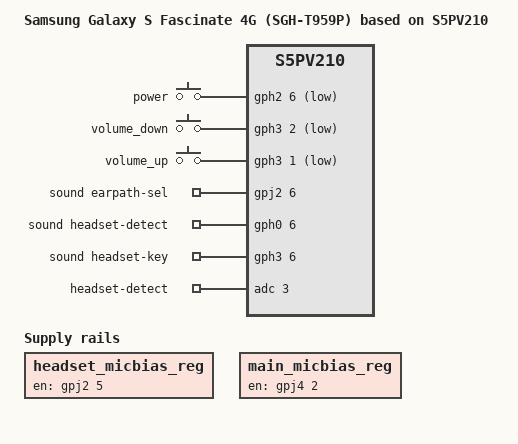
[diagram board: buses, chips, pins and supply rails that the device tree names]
// SPDX-License-Identifier: GPL-2.0

/dts-v1/;
#include <dt-bindings/gpio/gpio.h>
#include <dt-bindings/input/input.h>
#include "s5pv210-aries.dtsi"

/ {
	model = "Samsung Galaxy S Fascinate 4G (SGH-T959P) based on S5PV210";
	compatible = "samsung,fascinate4g", "samsung,aries", "samsung,s5pv210";
	chassis-type = "handset";

	chosen {
		stdout-path = &uart2;
	};

	gpio-keys {
		compatible = "gpio-keys";

		power {
			label = "power";
			gpios = <&gph2 6 GPIO_ACTIVE_LOW>;
			linux,code = <KEY_POWER>;
			wakeup-source;
		};

		vol-down {
			label = "volume_down";
			gpios = <&gph3 2 GPIO_ACTIVE_LOW>;
			linux,code = <KEY_VOLUMEDOWN>;
		};

		vol-up {
			label = "volume_up";
			gpios = <&gph3 1 GPIO_ACTIVE_LOW>;
			linux,code = <KEY_VOLUMEUP>;
		};
	};

	headset_micbias_reg: regulator-fixed-3 {
		compatible = "regulator-fixed";
		regulator-name = "Headset_Micbias";
		gpio = <&gpj2 5 GPIO_ACTIVE_HIGH>;
		enable-active-high;

		pinctrl-names = "default";
		pinctrl-0 = <&headset_micbias_ena>;
	};

	main_micbias_reg: regulator-fixed-4 {
		compatible = "regulator-fixed";
		regulator-name = "Main_Micbias";
		gpio = <&gpj4 2 GPIO_ACTIVE_HIGH>;
		enable-active-high;

		pinctrl-names = "default";
		pinctrl-0 = <&main_micbias_ena>;
	};

	sound {
		compatible = "samsung,fascinate4g-wm8994";

		model = "Fascinate4G";

		extcon = <&fsa9480>;

		main-micbias-supply = <&main_micbias_reg>;
		headset-micbias-supply = <&headset_micbias_reg>;

		earpath-sel-gpios = <&gpj2 6 GPIO_ACTIVE_HIGH>;

		io-channels = <&adc 3>;
		io-channel-names = "headset-detect";
		headset-detect-gpios = <&gph0 6 GPIO_ACTIVE_HIGH>;
		headset-key-gpios = <&gph3 6 GPIO_ACTIVE_HIGH>;

		samsung,audio-routing =
			"HP", "HPOUT1L",
			"HP", "HPOUT1R",

			"SPK", "SPKOUTLN",
			"SPK", "SPKOUTLP",

			"RCV", "HPOUT2N",
			"RCV", "HPOUT2P",

			"LINE", "LINEOUT2N",
			"LINE", "LINEOUT2P",

			"IN1LP", "Main Mic",
			"IN1LN", "Main Mic",

			"IN1RP", "Headset Mic",
			"IN1RN", "Headset Mic",

			"Modem Out", "Modem TX",
			"Modem RX", "Modem In",

			"Bluetooth SPK", "TX",
			"RX", "Bluetooth Mic";

		pinctrl-names = "default";
		pinctrl-0 = <&headset_det &earpath_sel>;

		cpu {
			sound-dai = <&i2s0>, <&bt_codec>;
		};

		codec {
			sound-dai = <&wm8994>;
		};
	};
};

&fg {
	compatible = "maxim,max77836-battery";

	interrupt-parent = <&gph3>;
	interrupts = <3 IRQ_TYPE_LEVEL_LOW>;

	pinctrl-names = "default";
	pinctrl-0 = <&fg_irq>;
};

&pinctrl0 {
	pinctrl-names = "default";
	pinctrl-0 = <&sleep_cfg>;

	headset_det: headset-det {
		samsung,pins = "gph0-6", "gph3-6";
		samsung,pin-function = <EXYNOS_PIN_FUNC_F>;
		samsung,pin-pud = <S3C64XX_PIN_PULL_NONE>;
	};

	fg_irq: fg-irq {
		samsung,pins = "gph3-3";
		samsung,pin-function = <EXYNOS_PIN_FUNC_F>;
		samsung,pin-pud = <S3C64XX_PIN_PULL_NONE>;
		samsung,pin-drv = <EXYNOS4_PIN_DRV_LV1>;
	};

	headset_micbias_ena: headset-micbias-ena {
		samsung,pins = "gpj2-5";
		samsung,pin-pud = <S3C64XX_PIN_PULL_NONE>;
		samsung,pin-drv = <EXYNOS4_PIN_DRV_LV1>;
	};

	earpath_sel: earpath-sel {
		samsung,pins = "gpj2-6";
		samsung,pin-pud = <S3C64XX_PIN_PULL_NONE>;
		samsung,pin-drv = <EXYNOS4_PIN_DRV_LV1>;
	};

	main_micbias_ena: main-micbias-ena {
		samsung,pins = "gpj4-2";
		samsung,pin-pud = <S3C64XX_PIN_PULL_NONE>;
		samsung,pin-drv = <EXYNOS4_PIN_DRV_LV1>;
	};

	/* Based on vendor kernel v2.6.35.7 */
	sleep_cfg: sleep-cfg {
		PIN_SLP(gpa0-0, PREV, NONE);
		PIN_SLP(gpa0-1, PREV, NONE);
		PIN_SLP(gpa0-2, PREV, NONE);
		PIN_SLP(gpa0-3, OUT1, NONE);
		PIN_SLP(gpa0-4, PREV, NONE);
		PIN_SLP(gpa0-5, PREV, NONE);
		PIN_SLP(gpa0-6, PREV, NONE);
		PIN_SLP(gpa0-7, PREV, NONE);

		PIN_SLP(gpa1-0, INPUT, DOWN);
		PIN_SLP(gpa1-1, OUT0, NONE);
		PIN_SLP(gpa1-2, INPUT, DOWN);
		PIN_SLP(gpa1-3, OUT0, NONE);

		PIN_SLP(gpb-0, OUT0, NONE);
		PIN_SLP(gpb-1, OUT1, NONE);
		PIN_SLP(gpb-2, OUT0, NONE);
		PIN_SLP(gpb-3, PREV, NONE);
		PIN_SLP(gpb-4, INPUT, NONE);
		PIN_SLP(gpb-5, PREV, NONE);
		PIN_SLP(gpb-6, INPUT, DOWN);
		PIN_SLP(gpb-7, OUT0, NONE);

		PIN_SLP(gpc0-0, OUT0, NONE);
		PIN_SLP(gpc0-1, INPUT, DOWN);
		PIN_SLP(gpc0-2, OUT0, NONE);
		PIN_SLP(gpc0-3, INPUT, DOWN);
		PIN_SLP(gpc0-4, OUT0, NONE);

		PIN_SLP(gpc1-0, INPUT, DOWN);
		PIN_SLP(gpc1-1, INPUT, DOWN);
		PIN_SLP(gpc1-2, INPUT, DOWN);
		PIN_SLP(gpc1-3, INPUT, DOWN);
		PIN_SLP(gpc1-4, INPUT, DOWN);

		PIN_SLP(gpd0-0, INPUT, DOWN);
		PIN_SLP(gpd0-1, OUT0, NONE);
		PIN_SLP(gpd0-2, INPUT, DOWN);
		PIN_SLP(gpd0-3, INPUT, DOWN);

		PIN_SLP(gpd1-0, INPUT, NONE);
		PIN_SLP(gpd1-1, INPUT, NONE);
		PIN_SLP(gpd1-2, INPUT, DOWN);
		PIN_SLP(gpd1-3, INPUT, DOWN);
		PIN_SLP(gpd1-4, INPUT, DOWN);
		PIN_SLP(gpd1-5, INPUT, DOWN);

		PIN_SLP(gpe0-0, INPUT, DOWN);
		PIN_SLP(gpe0-1, INPUT, DOWN);
		PIN_SLP(gpe0-2, INPUT, DOWN);
		PIN_SLP(gpe0-3, INPUT, DOWN);
		PIN_SLP(gpe0-4, INPUT, DOWN);
		PIN_SLP(gpe0-5, INPUT, DOWN);
		PIN_SLP(gpe0-6, INPUT, DOWN);
		PIN_SLP(gpe0-7, INPUT, DOWN);

		PIN_SLP(gpe1-0, INPUT, DOWN);
		PIN_SLP(gpe1-1, INPUT, DOWN);
		PIN_SLP(gpe1-2, INPUT, DOWN);
		PIN_SLP(gpe1-3, OUT0, NONE);
		PIN_SLP(gpe1-4, INPUT, DOWN);

		PIN_SLP(gpf0-0, OUT0, NONE);
		PIN_SLP(gpf0-1, OUT0, NONE);
		PIN_SLP(gpf0-2, OUT0, NONE);
		PIN_SLP(gpf0-3, OUT0, NONE);
		PIN_SLP(gpf0-4, OUT0, NONE);
		PIN_SLP(gpf0-5, OUT0, NONE);
		PIN_SLP(gpf0-6, OUT0, NONE);
		PIN_SLP(gpf0-7, OUT0, NONE);

		PIN_SLP(gpf1-0, OUT0, NONE);
		PIN_SLP(gpf1-1, OUT0, NONE);
		PIN_SLP(gpf1-2, OUT0, NONE);
		PIN_SLP(gpf1-3, OUT0, NONE);
		PIN_SLP(gpf1-4, OUT0, NONE);
		PIN_SLP(gpf1-5, OUT0, NONE);
		PIN_SLP(gpf1-6, OUT0, NONE);
		PIN_SLP(gpf1-7, OUT0, NONE);

		PIN_SLP(gpf2-0, OUT0, NONE);
		PIN_SLP(gpf2-1, OUT0, NONE);
		PIN_SLP(gpf2-2, OUT0, NONE);
		PIN_SLP(gpf2-3, OUT0, NONE);
		PIN_SLP(gpf2-4, OUT0, NONE);
		PIN_SLP(gpf2-5, OUT0, NONE);
		PIN_SLP(gpf2-6, OUT0, NONE);
		PIN_SLP(gpf2-7, OUT0, NONE);

		PIN_SLP(gpf3-0, OUT0, NONE);
		PIN_SLP(gpf3-1, OUT0, NONE);
		PIN_SLP(gpf3-2, OUT0, NONE);
		PIN_SLP(gpf3-3, OUT0, NONE);
		PIN_SLP(gpf3-4, PREV, NONE);
		PIN_SLP(gpf3-5, INPUT, DOWN);

		PIN_SLP(gpg0-0, INPUT, DOWN);
		PIN_SLP(gpg0-1, INPUT, DOWN);
		PIN_SLP(gpg0-2, INPUT, NONE);
		PIN_SLP(gpg0-3, INPUT, DOWN);
		PIN_SLP(gpg0-4, INPUT, DOWN);
		PIN_SLP(gpg0-5, INPUT, DOWN);
		PIN_SLP(gpg0-6, INPUT, DOWN);

		PIN_SLP(gpg1-0, OUT0, NONE);
		PIN_SLP(gpg1-1, OUT1, NONE);
		PIN_SLP(gpg1-2, PREV, NONE);
		PIN_SLP(gpg1-3, OUT1, NONE);
		PIN_SLP(gpg1-4, OUT1, NONE);
		PIN_SLP(gpg1-5, OUT1, NONE);
		PIN_SLP(gpg1-6, OUT1, NONE);

		PIN_SLP(gpg2-0, OUT0, NONE);
		PIN_SLP(gpg2-1, OUT0, NONE);
		PIN_SLP(gpg2-2, INPUT, NONE);
		PIN_SLP(gpg2-3, OUT0, NONE);
		PIN_SLP(gpg2-4, OUT0, NONE);
		PIN_SLP(gpg2-5, OUT0, NONE);
		PIN_SLP(gpg2-6, OUT0, NONE);

		PIN_SLP(gpg3-0, PREV, UP);
		PIN_SLP(gpg3-1, PREV, UP);
		PIN_SLP(gpg3-2, INPUT, NONE);
		PIN_SLP(gpg3-3, INPUT, DOWN);
		PIN_SLP(gpg3-4, OUT0, NONE);
		PIN_SLP(gpg3-5, OUT0, NONE);
		PIN_SLP(gpg3-6, INPUT, DOWN);

		PIN_SLP(gpi-0, PREV, NONE);
		PIN_SLP(gpi-1, INPUT, DOWN);
		PIN_SLP(gpi-2, PREV, NONE);
		PIN_SLP(gpi-3, PREV, NONE);
		PIN_SLP(gpi-4, PREV, NONE);
		PIN_SLP(gpi-5, INPUT, DOWN);
		PIN_SLP(gpi-6, INPUT, DOWN);

		PIN_SLP(gpj0-0, INPUT, NONE);
		PIN_SLP(gpj0-1, INPUT, NONE);
		PIN_SLP(gpj0-2, INPUT, NONE);
		PIN_SLP(gpj0-3, INPUT, NONE);
		PIN_SLP(gpj0-4, INPUT, NONE);
		PIN_SLP(gpj0-5, INPUT, DOWN);
		PIN_SLP(gpj0-6, OUT0, NONE);
		PIN_SLP(gpj0-7, INPUT, NONE);

		PIN_SLP(gpj1-0, OUT1, NONE);
		PIN_SLP(gpj1-1, OUT0, NONE);
		PIN_SLP(gpj1-2, INPUT, DOWN);
		PIN_SLP(gpj1-3, PREV, NONE);
		PIN_SLP(gpj1-4, PREV, NONE);
		PIN_SLP(gpj1-5, OUT0, NONE);

		PIN_SLP(gpj2-0, INPUT, DOWN);
		PIN_SLP(gpj2-1, INPUT, DOWN);
		PIN_SLP(gpj2-2, OUT0, NONE);
		PIN_SLP(gpj2-3, INPUT, DOWN);
		PIN_SLP(gpj2-4, INPUT, DOWN);
		PIN_SLP(gpj2-5, PREV, NONE);
		PIN_SLP(gpj2-6, PREV, NONE);
		PIN_SLP(gpj2-7, INPUT, DOWN);

		PIN_SLP(gpj3-0, INPUT, NONE);
		PIN_SLP(gpj3-1, INPUT, NONE);
		PIN_SLP(gpj3-2, OUT0, NONE);
		PIN_SLP(gpj3-3, INPUT, DOWN);
		PIN_SLP(gpj3-4, INPUT, NONE);
		PIN_SLP(gpj3-5, INPUT, NONE);
		PIN_SLP(gpj3-6, INPUT, NONE);
		PIN_SLP(gpj3-7, INPUT, NONE);

		PIN_SLP(gpj4-0, INPUT, NONE);
		PIN_SLP(gpj4-1, INPUT, DOWN);
		PIN_SLP(gpj4-2, PREV, NONE);
		PIN_SLP(gpj4-3, INPUT, NONE);
		PIN_SLP(gpj4-4, INPUT, DOWN);

		PIN_SLP(mp01-0, OUT1, NONE);
		PIN_SLP(mp01-1, OUT0, NONE);
		PIN_SLP(mp01-2, INPUT, DOWN);
		PIN_SLP(mp01-3, INPUT, DOWN);
		PIN_SLP(mp01-4, OUT1, NONE);
		PIN_SLP(mp01-5, INPUT, DOWN);
		PIN_SLP(mp01-6, INPUT, DOWN);
		PIN_SLP(mp01-7, INPUT, DOWN);

		PIN_SLP(mp02-0, INPUT, DOWN);
		PIN_SLP(mp02-1, INPUT, DOWN);
		PIN_SLP(mp02-2, INPUT, NONE);
		PIN_SLP(mp02-3, INPUT, DOWN);

		PIN_SLP(mp03-0, INPUT, DOWN);
		PIN_SLP(mp03-1, INPUT, DOWN);
		PIN_SLP(mp03-2, OUT1, NONE);
		PIN_SLP(mp03-3, OUT0, NONE);
		PIN_SLP(mp03-4, INPUT, NONE);
		PIN_SLP(mp03-5, OUT0, NONE);
		PIN_SLP(mp03-6, INPUT, DOWN);
		PIN_SLP(mp03-7, INPUT, DOWN);

		PIN_SLP(mp04-0, INPUT, DOWN);
		PIN_SLP(mp04-1, OUT0, NONE);
		PIN_SLP(mp04-2, INPUT, DOWN);
		PIN_SLP(mp04-3, OUT0, NONE);
		PIN_SLP(mp04-4, INPUT, DOWN);
		PIN_SLP(mp04-5, INPUT, DOWN);
		PIN_SLP(mp04-6, OUT0, NONE);
		PIN_SLP(mp04-7, INPUT, DOWN);

		PIN_SLP(mp05-0, INPUT, NONE);
		PIN_SLP(mp05-1, INPUT, NONE);
		PIN_SLP(mp05-2, INPUT, NONE);
		PIN_SLP(mp05-3, INPUT, NONE);
		PIN_SLP(mp05-4, INPUT, DOWN);
		PIN_SLP(mp05-5, OUT0, NONE);
		PIN_SLP(mp05-6, INPUT, DOWN);
		PIN_SLP(mp05-7, PREV, NONE);

		PIN_SLP(mp06-0, INPUT, DOWN);
		PIN_SLP(mp06-1, INPUT, DOWN);
		PIN_SLP(mp06-2, INPUT, DOWN);
		PIN_SLP(mp06-3, INPUT, DOWN);
		PIN_SLP(mp06-4, INPUT, DOWN);
		PIN_SLP(mp06-5, INPUT, DOWN);
		PIN_SLP(mp06-6, INPUT, DOWN);
		PIN_SLP(mp06-7, INPUT, DOWN);

		PIN_SLP(mp07-0, INPUT, DOWN);
		PIN_SLP(mp07-1, INPUT, DOWN);
		PIN_SLP(mp07-2, INPUT, DOWN);
		PIN_SLP(mp07-3, INPUT, DOWN);
		PIN_SLP(mp07-4, INPUT, DOWN);
		PIN_SLP(mp07-5, INPUT, DOWN);
		PIN_SLP(mp07-6, INPUT, DOWN);
		PIN_SLP(mp07-7, INPUT, DOWN);
	};
};

&wm8994 {
	/* GPIO3 (BCLK2) and GPIO4 (LRCLK2) as outputs */
	wlf,gpio-cfg = <0xa101 0x8100 0x8100 0x8100 0x8100 0xa101
			0x0100 0x8100 0x0100 0x0100 0x0100>;
};
